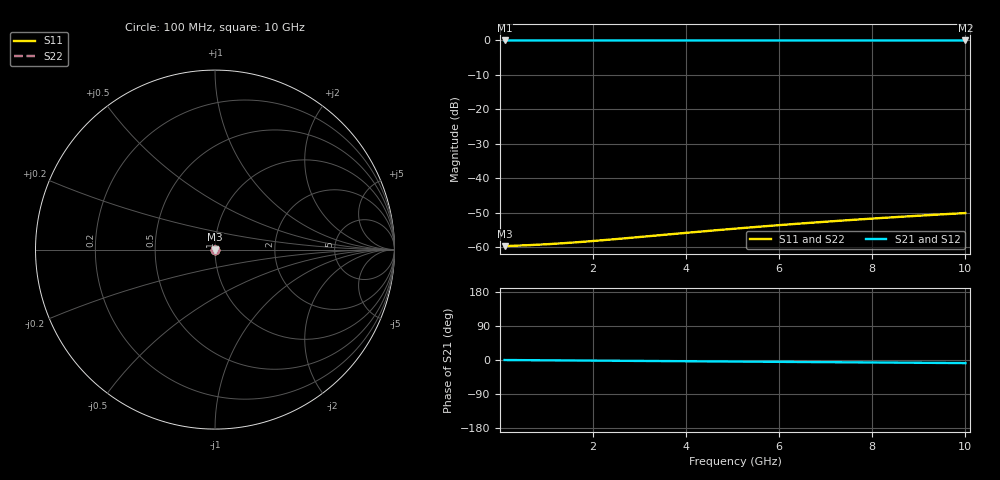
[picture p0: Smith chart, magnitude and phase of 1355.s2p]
# Hz S RI R 50.00
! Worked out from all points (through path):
!   100 points, 100 MHz to 10 GHz, reference 50 ohm
!   highest |S21| = -0.01 dB at 100 MHz (marker M1); lowest = 0.0 dB at 10 GHz (marker M2)
!   group delay of S21, straight-line fit = 2.26 ps
!   lowest |S11| = -59.6 dB at 100 MHz (marker M3), VSWR 1.00, Z = 50.1 + j0.00289 ohm
!   |S11| at or under -10 dB: start of sweep to end of sweep
!   |S22| runs from -59.6 to -50.0 dB; largest |S21 - S12| = 0
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1e8  0.00104 2.89e-05  0.999 -0.00141  0.999 -0.00141  0.00104 2.89e-05
6e8  0.00106 0.000173  0.9989 -0.00849  0.9989 -0.00849  0.00106 0.000173
8e8  0.00107 0.00023  0.9989 -0.0113  0.9989 -0.0113  0.00107 0.00023
1e9  0.00107 0.000288  0.9988 -0.0142  0.9988 -0.0142  0.00107 0.000288
1.2e9  0.00108 0.000345  0.9988 -0.017  0.9988 -0.017  0.00108 0.000345
1.4e9  0.00108 0.000403  0.9987 -0.0198  0.9987 -0.0198  0.00108 0.000403
1.8e9  0.00109 0.000517  0.9986 -0.0255  0.9986 -0.0255  0.00109 0.000517
2.1e9  0.0011 0.000602  0.9984 -0.0297  0.9984 -0.0297  0.0011 0.000602
2.4e9  0.00111 0.000688  0.9983 -0.034  0.9983 -0.034  0.00111 0.000688
2.8e9  0.00112 0.000801  0.9981 -0.0396  0.9981 -0.0396  0.00112 0.000801
3.4e9  0.00114 0.00097  0.9977 -0.0481  0.9977 -0.0481  0.00114 0.00097
4.3e9  0.00117 0.00122  0.997 -0.0609  0.997 -0.0609  0.00117 0.00122
5.1e9  0.00121 0.00144  0.9962 -0.0722  0.9962 -0.0722  0.00121 0.00144
5.5e9  0.00123 0.00155  0.9958 -0.0778  0.9958 -0.0778  0.00123 0.00155
5.9e9  0.00125 0.00166  0.9953 -0.0835  0.9953 -0.0835  0.00125 0.00166
6.3e9  0.00127 0.00177  0.9948 -0.0891  0.9948 -0.0891  0.00127 0.00177
6.7e9  0.00129 0.00188  0.9943 -0.0948  0.9943 -0.0948  0.00129 0.00188
7.5e9  0.00134 0.00209  0.9931 -0.1061  0.9931 -0.1061  0.00134 0.00209
7.9e9  0.00137 0.0022  0.9925 -0.1118  0.9925 -0.1118  0.00137 0.0022
8.4e9  0.0014 0.00233  0.9917 -0.1188  0.9917 -0.1188  0.0014 0.00233
9.2e9  0.00146 0.00254  0.9902 -0.1301  0.9902 -0.1301  0.00146 0.00254
1e10  0.00153 0.00275  0.9887 -0.1414  0.9887 -0.1414  0.00153 0.00275
